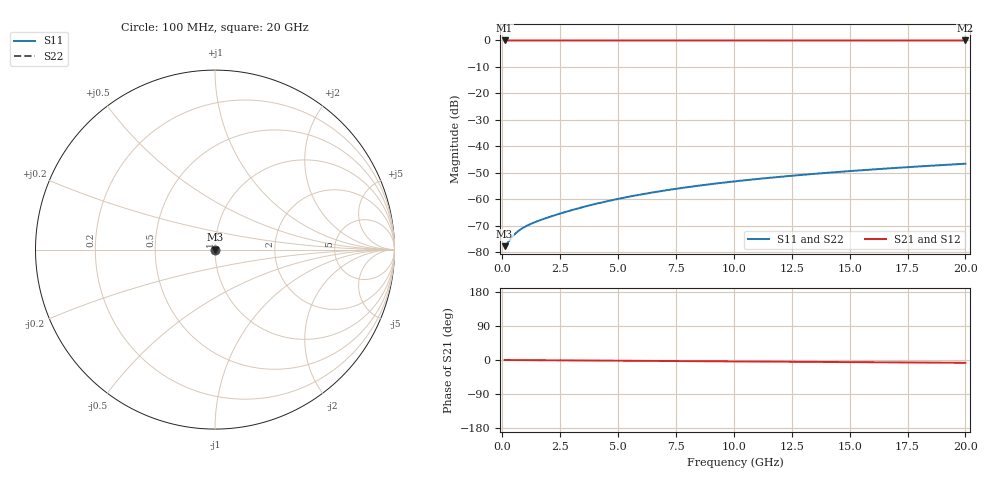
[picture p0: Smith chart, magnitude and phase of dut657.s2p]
! Touchstone file exported from HFSS 2026.1.0
!  File:  C:/ffzhzh/LocalFiles/Ansys_Project_Files/temp_train_TSV_657_1783026832_46388.aedt
!  Generated:  05:15:29 AM Jul  3, 2026
!  Design:  TSV
!  Project:  temp_train_TSV_657_1783026832_46388
! Variables:
!  h_bsmrdl = 2um
!  h_ox = 20um
!  h_rdl = 5um
!  h_sub = 75.26um
!  h_tmrdl = 5um
!  h_tsv = 75.26um
!  h_via = 3um
!  l_bsmrdl = 300um
!  l_sub = 419.48um
!  l_tmrdl = 200um
!  m_sub = 200um
!  pitch = 37.93um
!  r_tsv = 9.74um
!  s_tmrdl = 10um
!  w_bsmrdl = 18um
!  w_sub = 500um
!  w_tmrdl = 12um
!  x_tsv_center1 = 206um
!  x_tsv_center2 = 524um
!  x_tsv_center3 = 736um
!  x_tsv_center4 = 1054um
!  x_tsv_center5 = 1266um
!  x_tsv_center6 = 1584um
# GHz S MA R 50.000000
! Terminal data exported
! Port[1] = TSV1_1_T1
! Port[2] = TSV1_1_T2
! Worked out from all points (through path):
!   200 points, 100 MHz to 20 GHz, reference 50 ohm
!   highest |S21| = 0.00 dB at 100 MHz (marker M1); lowest = 0.0 dB at 20 GHz (marker M2)
!   group delay of S21, straight-line fit = 1.03 ps
!   lowest |S11| = -77.7 dB at 100 MHz (marker M3), VSWR 1.00, Z = 50 + j0.00201 ohm
!   |S11| at or under -10 dB: start of sweep to end of sweep
!   |S22| runs from -77.7 to -46.6 dB; largest |S21 - S12| = 2.3e-15
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0.1  0.0001304 8.9  0.9999 -0.0  0.9999 -0.0  0.0001304 8.9
! Gamma 0 0 0 0
! Port Impedance 50 0 50 0
0.2  0.0001456 14.9  0.9999 -0.1  0.9999 -0.1  0.0001456 14.9
0.4  0.000189 17.3  0.9998 -0.2  0.9998 -0.2  0.000189 17.3
0.5  0.0002117 15.6  0.9998 -0.2  0.9998 -0.2  0.0002117 15.6
0.6  0.0002333 13.0  0.9998 -0.2  0.9998 -0.2  0.0002333 13.0
0.8  0.0002724 6.6  0.9997 -0.3  0.9997 -0.3  0.0002724 6.6
1.1  0.000323 -3.1  0.9997 -0.4  0.9997 -0.4  0.000323 -3.1
1.5  0.0003837 -14.0  0.9996 -0.6  0.9996 -0.6  0.0003837 -14.0
2.1  0.0004747 -26.4  0.9996 -0.8  0.9996 -0.8  0.0004747 -26.4
2.8  0.00059 -36.3  0.9995 -1.1  0.9995 -1.1  0.00059 -36.3
3.5  0.0007166 -43.3  0.9995 -1.3  0.9995 -1.3  0.0007166 -43.3
4.3  0.0008733 -49.2  0.9994 -1.6  0.9994 -1.6  0.0008732 -49.2
5.1  0.00104 -53.7  0.9994 -1.9  0.9994 -1.9  0.00104 -53.7
5.9  0.001215 -57.3  0.9993 -2.2  0.9993 -2.2  0.001215 -57.3
6.8  0.001418 -60.6  0.9992 -2.5  0.9992 -2.5  0.001418 -60.6
8.4  0.001791 -65.4  0.9992 -3.1  0.9992 -3.1  0.001791 -65.4
10.1  0.002199 -69.2  0.9991 -3.8  0.9991 -3.8  0.002199 -69.2
11.7  0.002589 -72.1  0.999 -4.4  0.999 -4.4  0.002589 -72.1
13.4  0.003009 -74.7  0.9989 -5.0  0.9989 -5.0  0.003009 -74.7
15  0.00341 -76.7  0.9989 -5.6  0.9989 -5.6  0.00341 -76.7
16.7  0.003843 -78.5  0.9988 -6.2  0.9988 -6.2  0.003843 -78.5
20  0.004704 -81.5  0.9987 -7.4  0.9987 -7.4  0.004704 -81.5
